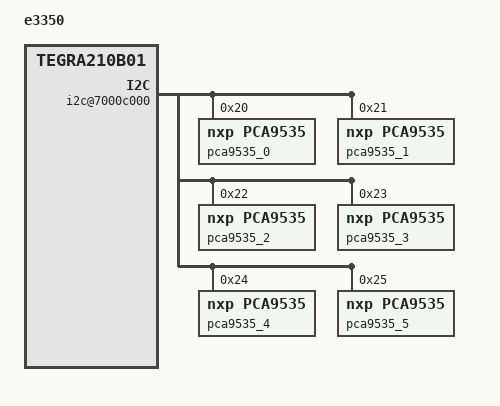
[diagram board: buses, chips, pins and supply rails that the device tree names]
/*
 * Copyright (c) 2017, NVIDIA CORPORATION.  All rights reserved.
 *
 * This program is free software; you can redistribute it and/or modify
 * it under the terms of the GNU General Public License as published by
 * the Free Software Foundation; version 2 of the License.
 *
 * This program is distributed in the hope that it will be useful, but WITHOUT
 * ANY WARRANTY; without even the implied warranty of MERCHANTABILITY or
 * FITNESS FOR A PARTICULAR PURPOSE.  See the GNU General Public License for
 * more details.
 *
 * You should have received a copy of the GNU General Public License along
 * with this program; if not, write to the Free Software Foundation, Inc.,
 * 51 Franklin Street, Fifth Floor, Boston, MA  02110-1301, USA.
 *
 */

/dts-v1/;

/memreserve/ 0x80000000 0x00020000;

#include "tegra210b01-ers-common.dtsi"
#include "tegra210b01-ers-e3350-display.dtsi"

/ {
	model = "e3350";
	compatible = "nvidia,e3350", "nvidia,tegra210b01";
	nvidia,dtsfilename = __FILE__;
	nvidia,fastboot-usb-pid = <0x7100>;

	dvfs {
		compatible = "nvidia,tegra210-dvfs";
	};

	gpu-dvfs-rework {
		status = "disabled";
	};

	chosen {
		bootargs = "earlycon=uart8250,mmio32,0x70006000";
		stdout-path = &uarta;
	};

	firmware {
		android {
			compatible = "android,firmware";
			hardware = "e3350";
		};
	};

	i2c@7000c000 {
		pca9535_0: pca9535@20 {
			compatible = "nxp,pca9535";
			gpio-controller;
			#size-cells = <2>;
			reg = <0x20>;
			status = "okay";
		};
		pca9535_1: pca9535@21 {
			compatible = "nxp,pca9535";
			gpio-controller;
			#size-cells = <2>;
			reg = <0x21>;
			status = "okay";
		};
		pca9535_2: pca9535@22 {
			compatible = "nxp,pca9535";
			gpio-controller;
			#size-cells = <2>;
			reg = <0x22>;
			status = "okay";
			pcie-mux-output-high {
				gpio-hog;
				output-high;
				gpios = <9 0 10 0>;
				line-name = "pcie-mux-output-high";
			};
		};
		pca9535_3: pca9535@23 {
			compatible = "nxp,pca9535";
			gpio-controller;
			#size-cells = <2>;
			reg = <0x23>;
			status = "okay";
		};
		pca9535_4: pca9535@24 {
			compatible = "nxp,pca9535";
			gpio-controller;
			#size-cells = <2>;
			reg = <0x24>;
			status = "okay";
		};
		pca9535_5: pca9535@25 {
			compatible = "nxp,pca9535";
			gpio-controller;
			#size-cells = <2>;
			reg = <0x25>;
			status = "okay";
			pcie-mux-output-low {
				gpio-hog;
				output-low;
				gpios = <5 0 6 0 7 0>;
				line-name = "pcie-mux-output-low";
			};
		};
	};
};
